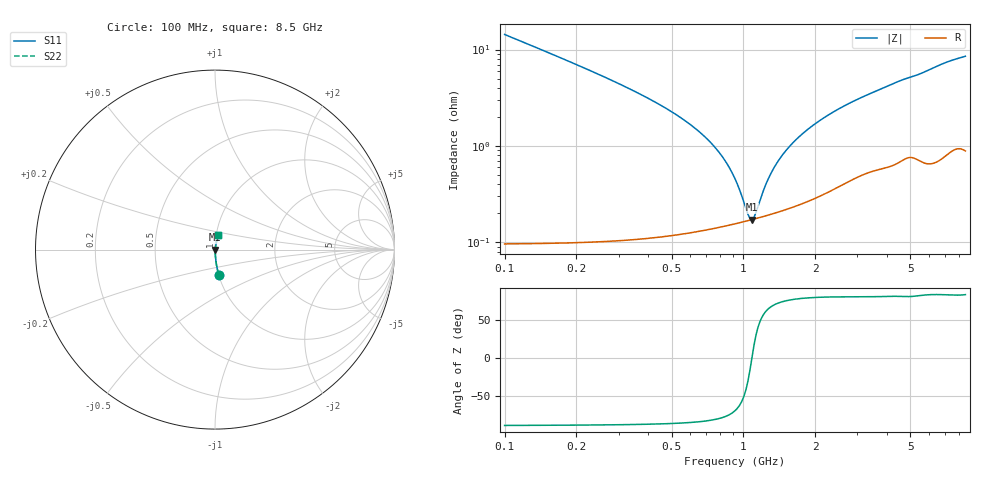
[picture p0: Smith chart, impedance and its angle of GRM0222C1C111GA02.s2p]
!Murata Part Number: GRM0222C1C111GA02
!These Parameters are Measured in Series Mode Connection
!Data Generated on Mar 30, 2021
!  o--ll--o
!Port1  Port2
!  o------o
!Operation Temp=25[degC], DC Bias Voltage=0[V]
!Freq. Start=100[MHz] Stop=9[GHz] 401[Steps]
# Hz S RI R 50
!Freq.(Hz) S11(Real) S11(Imag) S21(Real) S21(Imag) S12(Real) S12(Imag) S22(Real) S22(Imag)
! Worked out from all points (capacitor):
!   401 points, 100 MHz to 8.5 GHz, reference 50 ohm
!   read as one part in series: C = 110 pF near 142 MHz
!   lowest |Z| = 172 mohm at 1.087 GHz (marker M1)
!   series resonance near 1.085 GHz, so ESL is about 200 pH
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1e8  0.0211 -0.1403  0.9789 0.1403  0.9789 0.1403  0.0211 -0.1403
2.05e8  0.00558 -0.0675  0.9944 0.0675  0.9944 0.0675  0.00558 -0.0675
3.1e8  0.00286 -0.0426  0.9971 0.0426  0.9971 0.0426  0.00286 -0.0426
6.88e8  0.00149 -0.0124  0.9985 0.0124  0.9985 0.0124  0.00149 -0.0124
8.14e8  0.00151 -0.00765  0.9985 0.00765  0.9985 0.00765  0.00151 -0.00765
9.19e8  0.00157 -0.00437  0.9984 0.00437  0.9984 0.00437  0.00157 -0.00437
1.045e9  0.00168 -0.000984  0.9983 0.000984  0.9983 0.000984  0.00168 -0.000984
1.066e9  0.0017 -0.000464  0.9983 0.000464  0.9983 0.000464  0.0017 -0.000464
1.087e9  0.00172 4.53e-05  0.9983 -4.53e-05  0.9983 -4.53e-05  0.00172 4.53e-05
1.129e9  0.00177 0.00103  0.9982 -0.00103  0.9982 -0.00103  0.00177 0.00103
1.234e9  0.00189 0.00336  0.9981 -0.00336  0.9981 -0.00336  0.00189 0.00336
1.297e9  0.00197 0.00466  0.998 -0.00466  0.998 -0.00466  0.00197 0.00466
1.402e9  0.00211 0.00672  0.9979 -0.00672  0.9979 -0.00672  0.00211 0.00672
1.507e9  0.00226 0.00866  0.9977 -0.00866  0.9977 -0.00866  0.00226 0.00866
1.738e9  0.00264 0.0126  0.9974 -0.0126  0.9974 -0.0126  0.00264 0.0126
2.053e9  0.00325 0.0175  0.9967 -0.0175  0.9967 -0.0175  0.00325 0.0175
2.431e9  0.00413 0.0228  0.9959 -0.0228  0.9959 -0.0228  0.00413 0.0228
2.914e9  0.00539 0.0288  0.9946 -0.0288  0.9946 -0.0288  0.00539 0.0288
4.3e9  0.0083 0.0439  0.9917 -0.0439  0.9917 -0.0439  0.0083 0.0439
5.707e9  0.00991 0.0571  0.9901 -0.0571  0.9901 -0.0571  0.00991 0.0571
7.114e9  0.0133 0.0722  0.9867 -0.0722  0.9867 -0.0722  0.0133 0.0722
8.5e9  0.0157 0.0827  0.9843 -0.0827  0.9843 -0.0827  0.0157 0.0827
